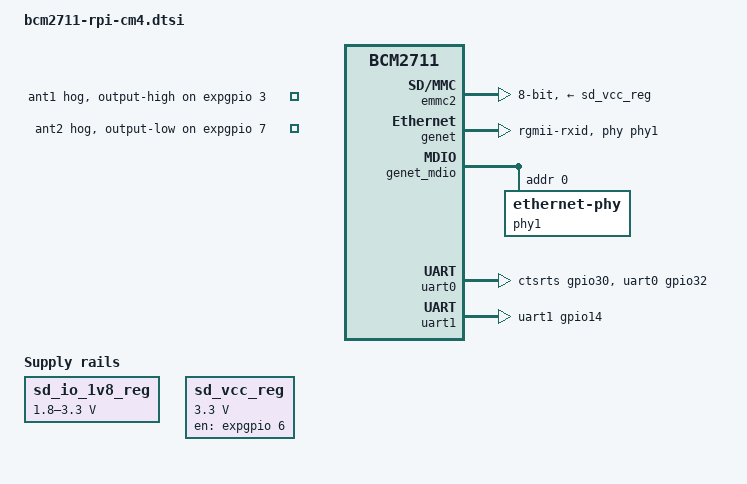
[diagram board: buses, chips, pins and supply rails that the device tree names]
// SPDX-License-Identifier: GPL-2.0
/dts-v1/;
#include "bcm2711.dtsi"
#include "bcm2711-rpi.dtsi"
#include "bcm283x-rpi-wifi-bt.dtsi"

/ {
	compatible = "raspberrypi,4-compute-module", "brcm,bcm2711";

	chosen {
		/* 8250 auxiliary UART instead of pl011 */
		stdout-path = "serial1:115200n8";
	};

	sd_io_1v8_reg: regulator-sd-io-1v8 {
		compatible = "regulator-gpio";
		regulator-name = "vdd-sd-io";
		regulator-min-microvolt = <1800000>;
		regulator-max-microvolt = <3300000>;
		regulator-boot-on;
		regulator-always-on;
		regulator-settling-time-us = <5000>;
		gpios = <&expgpio 4 GPIO_ACTIVE_HIGH>;
		states = <1800000 0x1>,
			 <3300000 0x0>;
		status = "okay";
	};

	sd_vcc_reg: regulator-sd-vcc {
		compatible = "regulator-fixed";
		regulator-name = "vcc-sd";
		regulator-min-microvolt = <3300000>;
		regulator-max-microvolt = <3300000>;
		regulator-boot-on;
		enable-active-high;
		gpio = <&expgpio 6 GPIO_ACTIVE_HIGH>;
	};
};

&bt {
	shutdown-gpios = <&expgpio 0 GPIO_ACTIVE_HIGH>;
};

/* EMMC2 is used to drive the eMMC */
&emmc2 {
	bus-width = <8>;
	vqmmc-supply = <&sd_io_1v8_reg>;
	vmmc-supply = <&sd_vcc_reg>;
	broken-cd;
	/* Even the IP block is limited to 100 MHz
	 * this provides a throughput gain
	 */
	mmc-hs200-1_8v;
	status = "okay";
};

&expgpio {
	gpio-line-names = "BT_ON",
			  "WL_ON",
			  "PWR_LED_OFF",
			  "ANT1",
			  "VDD_SD_IO_SEL",
			  "CAM_GPIO",
			  "SD_PWR_ON",
			  "ANT2";

	ant1: ant1-hog {
		gpio-hog;
		gpios = <3 GPIO_ACTIVE_HIGH>;
		/* internal antenna enabled */
		output-high;
		line-name = "ant1";
	};

	ant2: ant2-hog {
		gpio-hog;
		gpios = <7 GPIO_ACTIVE_HIGH>;
		/* external antenna disabled */
		output-low;
		line-name = "ant2";
	};
};

&genet {
	phy-handle = <&phy1>;
	phy-mode = "rgmii-rxid";
	status = "okay";
};

&genet_mdio {
	phy1: ethernet-phy@0 {
		/* No PHY interrupt */
		reg = <0x0>;
	};
};

/* uart0 communicates with the BT module */
&uart0 {
	pinctrl-names = "default";
	pinctrl-0 = <&uart0_ctsrts_gpio30 &uart0_gpio32>;
	uart-has-rtscts;
};

/* uart1 is mapped to the pin header */
&uart1 {
	pinctrl-names = "default";
	pinctrl-0 = <&uart1_gpio14>;
	status = "okay";
};

&wifi_pwrseq {
	reset-gpios = <&expgpio 1 GPIO_ACTIVE_LOW>;
};
